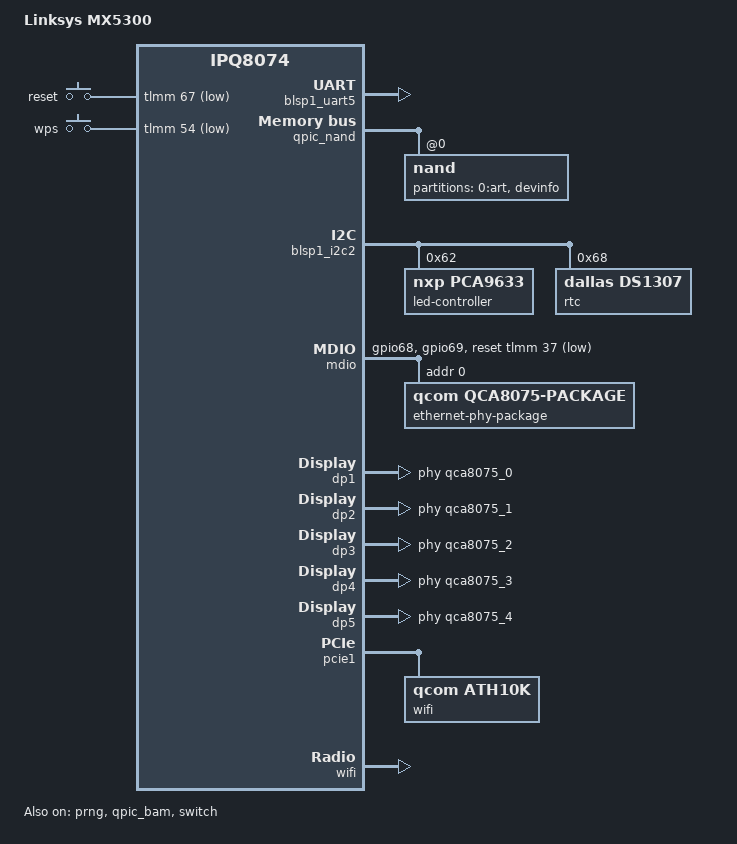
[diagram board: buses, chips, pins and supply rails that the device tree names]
// SPDX-License-Identifier: GPL-2.0-or-later OR MIT

/dts-v1/;

#include "ipq8074.dtsi"
#include "ipq8074-ess.dtsi"
#include "ipq8074-nss.dtsi"
#include "ipq8074-common.dtsi"
#include "ipq8074-hk-cpu.dtsi"

#include <dt-bindings/gpio/gpio.h>
#include <dt-bindings/input/input.h>
#include <dt-bindings/leds/common.h>

/ {
	model = "Linksys MX5300";
	compatible = "linksys,mx5300", "qcom,ipq8074";

	aliases {
		label-mac-device = &dp5;
		serial0 = &blsp1_uart5;

		led-boot = &led_system_blue;
		led-running = &led_system_blue;
		led-failsafe = &led_system_red;
		led-upgrade = &led_system_green;
	};

	chosen {
		stdout-path = "serial0:115200n8";
		bootargs-append = " root=/dev/ubiblock0_0";
	};

	keys {
		compatible = "gpio-keys";

		reset-button {
			label = "reset";
			gpios = <&tlmm 67 GPIO_ACTIVE_LOW>;
			linux,code = <KEY_RESTART>;
		};

		wps-button {
			label = "wps";
			gpios = <&tlmm 54 GPIO_ACTIVE_LOW>;
			linux,code = <KEY_WPS_BUTTON>;
		};
	};
};

&tlmm {
	button_pins: button-state {
		pins = "gpio54", "gpio67";
		function = "gpio";
		drive-strength = <8>;
		bias-pull-up;
	};

	mx5300_mdio_pins: mdio-state {
		mdc-pins {
			pins = "gpio68";
			function = "mdc";
			drive-strength = <8>;
			bias-pull-up;
		};

		mdio-pins {
			pins = "gpio69";
			function = "mdio";
			drive-strength = <8>;
			bias-pull-up;
		};
	};

	/*
	 * QCA4024 is not currently supported, keep for documentation purposes
	 *spi_3_pins: spi-3-state {
	 *	spi-pins {
	 *		pins = "gpio50", "gpio52", "gpio53";
	 *		function = "blsp3_spi";
	 *		drive-strength = <8>;
	 *		bias-disable;
	 *	};
	 *
	 *	cs-pins {
	 *		pins = "gpio22";
	 *		function = "blsp3_spi2";
	 *		drive-strength = <8>;
	 *		bias-disable;
	 *	};
	 *};
	 *
	 *quartz_pins: quartz-state {
	 *	interrupt-pins {
	 *		pins = "gpio48";
	 *		function = "gpio";
	 *		bias-disable;
	 *		input;
	 *	};
	 *
	 *	reset-pins {
	 *		pins = "gpio21";
	 *		function = "gpio";
	 *		bias-disable;
	 *		output-high;
	 *	};
	 *};
	 */
};

&blsp1_uart5 {
	status = "okay";
};

&prng {
	status = "okay";
};

&qpic_bam {
	status = "okay";
};
&qpic_nand {
	status = "okay";

	/*
	 * Bootloader will find the NAND DT node by the compatible and
	 * then "fixup" it by adding the partitions from the SMEM table
	 * using the legacy bindings thus making it impossible for us
	 * to change the partition table or utilize NVMEM for calibration.
	 * So add a dummy partitions node that bootloader will populate
	 * and set it as disabled so the kernel ignores it instead of
	 * printing warnings due to the broken way bootloader adds the
	 * partitions.
	 */
	partitions {
		status = "disabled";
	};

	nand@0 {
		reg = <0>;

		nand-ecc-strength = <4>;
		nand-ecc-step-size = <512>;
		nand-bus-width = <8>;

		partitions {
			compatible = "qcom,smem-part";

			partition-0-art {
				label = "0:art";
				read-only;

				nvmem-layout {
					compatible = "fixed-layout";
					#address-cells = <1>;
					#size-cells = <1>;

					caldata_qca9984: caldata@33000 {
						reg = <0x33000 0x2f20>;
					};
				};
			};

			partition-devinfo {
				label = "devinfo";
				read-only;

				nvmem-layout {
					compatible = "ascii-eq-delim-env";

					hw_mac_addr: hw_mac_addr {
						compatible = "mac-base";
						#nvmem-cell-cells = <1>;
					};
				};
			};
		};
	};
};

&blsp1_i2c2 {
	status = "okay";

	led-controller@62 {
		compatible = "nxp,pca9633";
		#address-cells = <1>;
		#size-cells = <0>;
		reg = <0x62>;
		nxp,hw-blink;

		led_system_red: led@0 {
			reg = <0>;
			color = <LED_COLOR_ID_RED>;
			function = LED_FUNCTION_STATUS;
		};

		led_system_green: led@1 {
			reg = <1>;
			color = <LED_COLOR_ID_GREEN>;
			function = LED_FUNCTION_STATUS;
		};

		led_system_blue: led@2 {
			reg = <2>;
			color = <LED_COLOR_ID_BLUE>;
			function = LED_FUNCTION_STATUS;
		};
	};

	rtc@68 {
		compatible = "dallas,ds1307";
		reg = <0x68>;
	};
};

/*
 * QCA4024 is not currently supported, keep for documentation purposes
 *&blsp1_spi4 {
 *	status = "okay";
 *
 *	pinctrl-0 = <&spi_3_pins &quartz_pins>;
 *	pinctrl-names = "default";
 *
 *	iot@3 {
 *		compatible = "qca,qca4024";
 *		reg = <0>;
 *		spi-max-frequency = <24000000>;
 *	};
 *};
 */

&mdio {
	status = "okay";

	pinctrl-0 = <&mx5300_mdio_pins>;
	pinctrl-names = "default";
	reset-gpios = <&tlmm 37 GPIO_ACTIVE_LOW>;

	ethernet-phy-package@0 {
		compatible = "qcom,qca8075-package";
		qcom,package-mode = "psgmii";
		#address-cells = <1>;
		#size-cells = <0>;
		reg = <0>;

		qca8075_0: ethernet-phy@0 {
			compatible = "ethernet-phy-ieee802.3-c22";
			reg = <0>;
		};

		qca8075_1: ethernet-phy@1 {
			compatible = "ethernet-phy-ieee802.3-c22";
			reg = <1>;
		};

		qca8075_2: ethernet-phy@2 {
			compatible = "ethernet-phy-ieee802.3-c22";
			reg = <2>;
		};

		qca8075_3: ethernet-phy@3 {
			compatible = "ethernet-phy-ieee802.3-c22";
			reg = <3>;
		};

		qca8075_4: ethernet-phy@4 {
			compatible = "ethernet-phy-ieee802.3-c22";
			reg = <4>;
		};
	};
};

&switch {
	status = "okay";

	switch_lan_bmp = <(ESS_PORT1 | ESS_PORT2 | ESS_PORT3 | ESS_PORT4)>; /* lan port bitmap */
	switch_wan_bmp = <ESS_PORT5>; /* wan port bitmap */
	switch_mac_mode = <MAC_MODE_PSGMII>; /* mac mode for uniphy instance0*/

	qcom,port_phyinfo {
		port@1 {
			port_id = <1>;
			phy_address = <0>;
		};

		port@2 {
			port_id = <2>;
			phy_address = <1>;
		};

		port@3 {
			port_id = <3>;
			phy_address = <2>;
		};

		port@4 {
			port_id = <4>;
			phy_address = <3>;
		};

		port@5 {
			port_id = <5>;
			phy_address = <4>;
		};
	};
};

&edma {
	status = "okay";
};

&dp1 {
	status = "okay";
	phy-handle = <&qca8075_0>;
	label = "lan1";
	nvmem-cells = <&hw_mac_addr 0>;
	nvmem-cell-names = "mac-address";
};

&dp2 {
	status = "okay";
	phy-handle = <&qca8075_1>;
	label = "lan2";
	nvmem-cells = <&hw_mac_addr 0>;
	nvmem-cell-names = "mac-address";
};

&dp3 {
	status = "okay";
	phy-handle = <&qca8075_2>;
	label = "lan3";
	nvmem-cells = <&hw_mac_addr 0>;
	nvmem-cell-names = "mac-address";
};

&dp4 {
	status = "okay";
	phy-handle = <&qca8075_3>;
	label = "lan4";
	nvmem-cells = <&hw_mac_addr 0>;
	nvmem-cell-names = "mac-address";
};

&dp5 {
	status = "okay";
	phy-handle = <&qca8075_4>;
	label = "wan";
	nvmem-cells = <&hw_mac_addr 0>;
	nvmem-cell-names = "mac-address";
};

&pcie1 {
	status = "okay";
	perst-gpios = <&tlmm 58 GPIO_ACTIVE_LOW>;

	pcie@0 {
		wifi@0,0 {
			status = "okay";
			compatible = "qcom,ath10k";
			qcom,ath10k-fw-memory-mode = <1>;
			qcom,ath10k-calibration-variant = "Linksys-MX5300";
			reg = <0x00010000 0 0 0 0>;

			nvmem-cell-names = "pre-calibration";
			nvmem-cells = <&caldata_qca9984>;
		};
	};
};

&wifi {
	status = "okay";
	qcom,ath11k-fw-memory-mode = <1>;
	qcom,ath11k-calibration-variant = "Linksys-MX5300";
};
